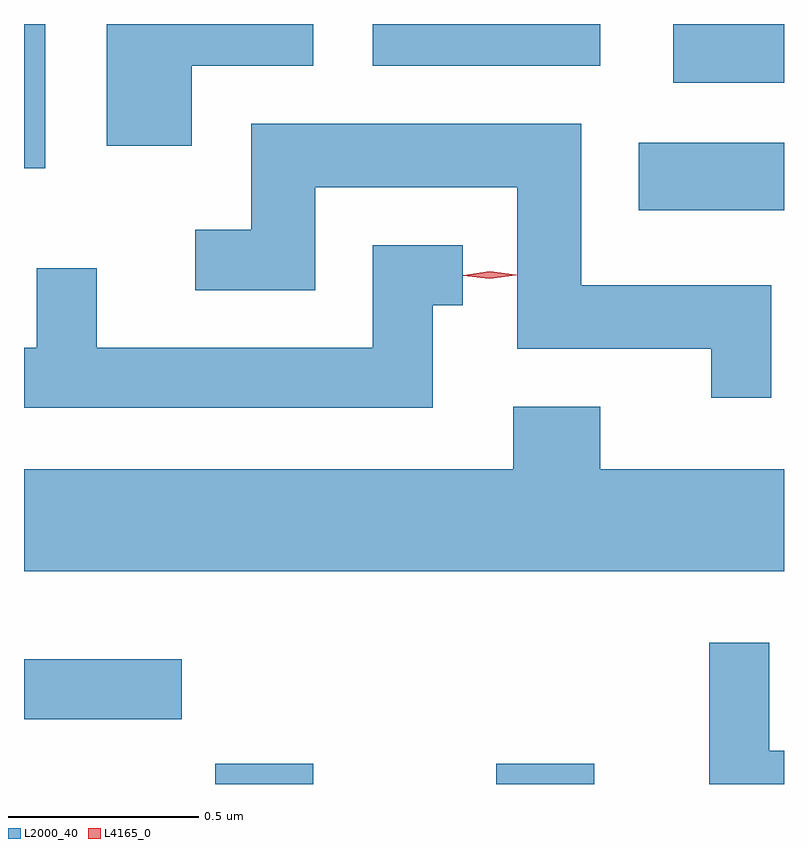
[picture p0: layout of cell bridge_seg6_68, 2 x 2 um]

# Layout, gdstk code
import gdstk
lib = gdstk.Library(unit=1e-6, precision=1e-09)
def R(c, l, rs):  # rectangles x0, y0, x1, y1
    for r in rs: c.add(gdstk.rectangle(r[:2], r[2:], *l))
def P(c, l, *ps):  # polygons
    for p in ps: c.add(gdstk.Polygon(p, *l))
L2000_40 = (2000, 40)
L4165_0 = (4165, 0)

bridge_seg6_68 = lib.new_cell('bridge_seg6_68')
R(bridge_seg6_68, L2000_40, [(1261.256,1642.716,1261.514,1642.769), (1261.996,1642.716,1262.254,1642.769), (1260.753,1642.886,1261.168,1643.044), (1262.371,1644.226,1262.753,1644.404), (1260.753,1644.336,1260.809,1644.716), (1262.461,1644.561,1262.753,1644.716), (1261.671,1644.606,1262.269,1644.716)])
P(bridge_seg6_68, L2000_40, [(1261.194,1644.606),(1261.514,1644.606),(1261.514,1644.716),(1260.971,1644.716),(1260.971,1644.396),(1261.194,1644.396)],
  [(1262.719,1644.029),(1262.219,1644.029),(1262.219,1644.454),(1261.351,1644.454),(1261.351,1644.174),(1261.203,1644.174),(1261.203,1644.016),(1261.519,1644.016),(1261.519,1644.286),(1262.051,1644.286),(1262.051,1643.861),(1262.561,1643.861),(1262.561,1643.733),(1262.719,1643.733)],
  [(1261.829,1643.976),(1261.908,1643.976),(1261.908,1644.134),(1261.671,1644.134),(1261.671,1643.864),(1260.944,1643.864),(1260.944,1644.073),(1260.786,1644.073),(1260.786,1643.864),(1260.753,1643.864),(1260.753,1643.706),(1261.829,1643.706)],
  [(1262.753,1643.544),(1262.269,1643.544),(1262.269,1643.709),(1262.041,1643.709),(1262.041,1643.544),(1260.753,1643.544),(1260.753,1643.276),(1262.753,1643.276)],
  [(1262.753,1642.804),(1262.714,1642.804),(1262.714,1643.088),(1262.556,1643.088),(1262.556,1642.716),(1262.753,1642.716)])
P(bridge_seg6_68, L4165_0, [(1261.978,1644.045),(1261.909,1644.054),(1261.909,1644.055),(1261.909,1644.055),(1261.978,1644.065),(1262.048,1644.056),(1262.048,1644.056),(1262.048,1644.055)])

lib.write_gds('bridge_seg6_68.gds')
